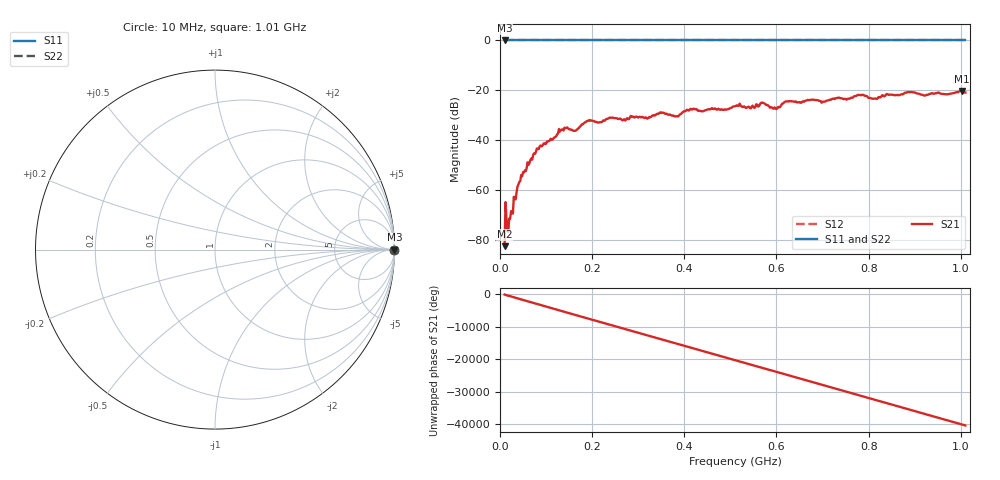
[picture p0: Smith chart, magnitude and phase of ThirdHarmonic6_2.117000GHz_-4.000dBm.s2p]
! 8/17/2025 1:18:33 AM
! C:\ANRITSUVNA\TEMP\TEMP.S2P
! CHANNEL.1
! TR.MEASUREMENT
! RAW.DATA
! RF.CORRECTION.OFF
! AVERAGING.OFF
! IF.BANDWIDTH: 5KHZ
! SWEEPTYPE:  FREQ.SWEEP(Linear)
! Reference Plane Port Info
! PORT:  PORT1  PORT2
! DISTANCE:  0  m  0  m
! TIME:  0  s  0  s
! PHASE.OFFSET:  0  deg.  0  deg.
! LOSS:  0  dB  0  dB
! REF.LOSS:  0  dB  0  dB
! REF.FREQ:  0  Hz  0  Hz
! Power Info
! POWER:  -20  dBm  -20  dBm
! EFF.POWER:  -20  dBm  -20  dBm
! SOURCE.ATTEN:  0  dB  0  dB
! TEST.ATTEN:  0  dB  0  dB
# GHZ S RI R 50.0
! FREQ.GHZ  S11RE  S11IM  S21RE  S21IM  S12RE  S12IM  S22RE  S22IM
!; PortSelection: Port_12
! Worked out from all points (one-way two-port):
!   501 points, 10 MHz to 1.01 GHz, reference 50 ohm
!   highest |S21| = -20.25 dB at 1.002 GHz (marker M1); lowest = -82.6 dB at 10 MHz (marker M2)
!   lowest |S11| = 0.0 dB at 10 MHz (marker M3)
!   |S11| at or under -10 dB: nowhere
!   |S22| runs from 0.0 to 0.0 dB; largest |S21 - S12| = 1.1
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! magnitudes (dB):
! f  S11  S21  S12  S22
! 10 MHz  0.0  -82.6  0.0  0.0
! 16 MHz  0.0  -75.6  0.0  0.0
! 20 MHz  0.0  -71.5  0.0  0.0
! 46 MHz  0.0  -54.0  0.0  0.0
! 78 MHz  0.0  -44.6  0.0  0.0
! 132 MHz  0.0  -36.0  0.0  0.0
! 162 MHz  0.0  -36.3  0.0  0.0
! 178 MHz  0.0  -33.7  0.0  0.0
! 344 MHz  0.0  -29.5  0.0  0.0
! 384 MHz  0.0  -30.4  0.0  0.0
! 416 MHz  0.0  -27.7  0.0  0.0
! 510 MHz  0.0  -26.4  0.0  0.0
! 570 MHz  0.0  -25.0  0.0  0.0
! 598 MHz  0.0  -27.3  0.0  0.0
! 620 MHz  0.0  -24.5  0.0  0.0
! 678 MHz  0.0  -23.8  0.0  0.0
! 702 MHz  0.0  -24.6  0.0  0.0
! 784 MHz  0.0  -22.0  0.0  0.0
! 814 MHz  0.0  -23.3  0.0  0.0
! 844 MHz  0.0  -21.9  0.0  0.0
! 1.002 GHz  0.0  -20.2  0.0  0.0
! 1.01 GHz  0.0  -20.9  0.0  0.0
